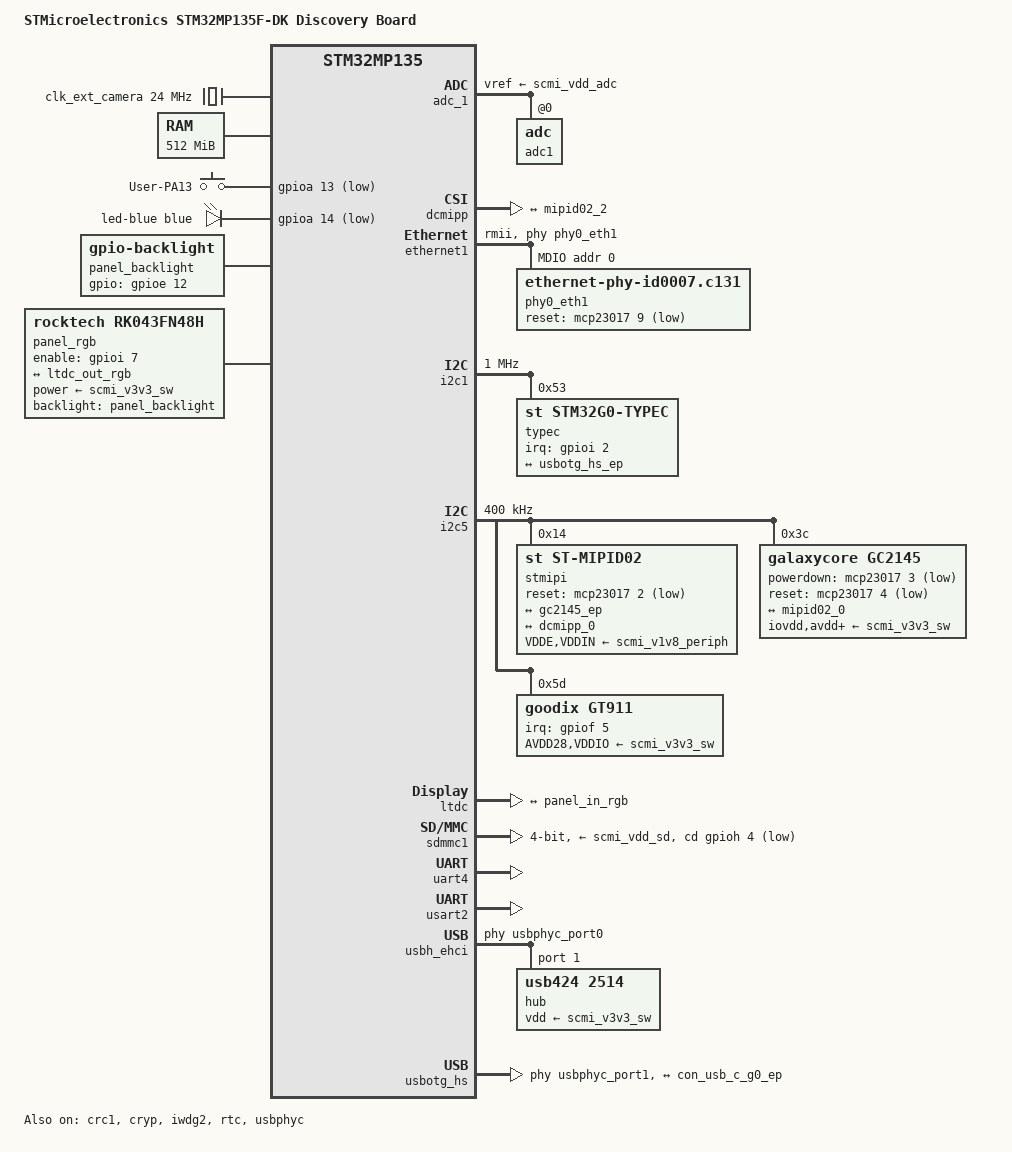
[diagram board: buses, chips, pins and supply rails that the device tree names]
// SPDX-License-Identifier: (GPL-2.0+ OR BSD-3-Clause)
/*
 * Copyright (C) STMicroelectronics 2021 - All Rights Reserved
 * Author: Alexandre Torgue <alexandre.torgue@foss.st.com> for STMicroelectronics.
 */

/dts-v1/;

#include <dt-bindings/gpio/gpio.h>
#include <dt-bindings/input/input.h>
#include <dt-bindings/leds/common.h>
#include <dt-bindings/regulator/st,stm32mp13-regulator.h>
#include "stm32mp135.dtsi"
#include "stm32mp13xf.dtsi"
#include "stm32mp13-pinctrl.dtsi"

/ {
	model = "STMicroelectronics STM32MP135F-DK Discovery Board";
	compatible = "st,stm32mp135f-dk", "st,stm32mp135";

	aliases {
		ethernet0 = &ethernet1;
		serial0 = &uart4;
		serial1 = &usart1;
		serial2 = &uart8;
		serial3 = &usart2;
	};

	chosen {
		stdout-path = "serial0:115200n8";
	};

	clocks {
		clk_ext_camera: clk-ext-camera {
			#clock-cells = <0>;
			compatible = "fixed-clock";
			clock-frequency = <24000000>;
		};

		clk_mco1: clk-mco1 {
			#clock-cells = <0>;
			compatible = "fixed-clock";
			clock-frequency = <24000000>;
		};
	};

	memory@c0000000 {
		device_type = "memory";
		reg = <0xc0000000 0x20000000>;
	};

	reserved-memory {
		#address-cells = <1>;
		#size-cells = <1>;
		ranges;

		optee@dd000000 {
			reg = <0xdd000000 0x3000000>;
			no-map;
		};
	};

	gpio-keys {
		compatible = "gpio-keys";

		button-user {
			label = "User-PA13";
			linux,code = <BTN_1>;
			gpios = <&gpioa 13 (GPIO_ACTIVE_LOW | GPIO_PULL_UP)>;
		};
	};

	leds {
		compatible = "gpio-leds";

		led-blue {
			function = LED_FUNCTION_HEARTBEAT;
			color = <LED_COLOR_ID_BLUE>;
			gpios = <&gpioa 14 GPIO_ACTIVE_LOW>;
			linux,default-trigger = "heartbeat";
			default-state = "off";
		};
	};

	panel_backlight: panel-backlight {
		compatible = "gpio-backlight";
		gpios = <&gpioe 12 GPIO_ACTIVE_HIGH>;
		default-on;
		status = "okay";
	};

	panel_rgb: panel-rgb {
		compatible = "rocktech,rk043fn48h";
		enable-gpios = <&gpioi 7 GPIO_ACTIVE_HIGH>;
		backlight = <&panel_backlight>;
		power-supply = <&scmi_v3v3_sw>;
		status = "okay";

		width-mm = <105>;
		height-mm = <67>;

		panel-timing {
			clock-frequency = <10000000>;
			hactive = <480>;
			hback-porch = <43>;
			hfront-porch = <10>;
			hsync-len = <1>;
			hsync-active = <0>;
			vactive = <272>;
			vback-porch = <26>;
			vfront-porch = <4>;
			vsync-len = <10>;
			vsync-active = <0>;
			de-active = <1>;
			pixelclk-active = <1>;
		};

		port {
			panel_in_rgb: endpoint {
				remote-endpoint = <&ltdc_out_rgb>;
			};
		};
	};
};

&adc_1 {
	pinctrl-names = "default";
	pinctrl-0 = <&adc1_usb_cc_pins_a>;
	vdda-supply = <&scmi_vdd_adc>;
	vref-supply = <&scmi_vdd_adc>;
	status = "okay";
	adc1: adc@0 {
		status = "okay";
		/*
		 * Type-C USB_PWR_CC1 & USB_PWR_CC2 on in6 & in12.
		 * Use at least 5 * RC time, e.g. 5 * (Rp + Rd) * C:
		 * 5 * (5.1 + 47kOhms) * 5pF => 1.3us.
		 * Use arbitrary margin here (e.g. 5us).
		 */
		channel@6 {
			reg = <6>;
			st,min-sample-time-ns = <5000>;
		};
		channel@12 {
			reg = <12>;
			st,min-sample-time-ns = <5000>;
		};
	};
};

&crc1 {
	status = "okay";
};

&cryp {
	status = "okay";
};

&dcmipp {
	pinctrl-names = "default", "sleep";
	pinctrl-0 = <&dcmipp_pins_a>;
	pinctrl-1 = <&dcmipp_sleep_pins_a>;
	status = "okay";

	port {
		dcmipp_0: endpoint {
			remote-endpoint = <&mipid02_2>;
			bus-width = <8>;
			hsync-active = <0>;
			vsync-active = <0>;
			pclk-sample = <0>;
		};
	};
};

&ethernet1 {
	status = "okay";
	pinctrl-0 = <&eth1_rmii_pins_a>;
	pinctrl-1 = <&eth1_rmii_sleep_pins_a>;
	pinctrl-names = "default", "sleep";
	phy-mode = "rmii";
	phy-handle = <&phy0_eth1>;

	mdio {
		#address-cells = <1>;
		#size-cells = <0>;
		compatible = "snps,dwmac-mdio";

		phy0_eth1: ethernet-phy@0 {
			compatible = "ethernet-phy-id0007.c131";
			reg = <0>;
			reset-gpios = <&mcp23017 9 GPIO_ACTIVE_LOW>;
			wakeup-source;
		};
	};
};

&i2c1 {
	pinctrl-names = "default", "sleep";
	pinctrl-0 = <&i2c1_pins_a>;
	pinctrl-1 = <&i2c1_sleep_pins_a>;
	i2c-scl-rising-time-ns = <96>;
	i2c-scl-falling-time-ns = <3>;
	clock-frequency = <1000000>;
	status = "okay";
	/* spare dmas for other usage */
	/delete-property/dmas;
	/delete-property/dma-names;

	mcp23017: pinctrl@21 {
		compatible = "microchip,mcp23017";
		reg = <0x21>;
		gpio-controller;
		#gpio-cells = <2>;
		interrupts = <12 IRQ_TYPE_LEVEL_LOW>;
		interrupt-parent = <&gpiog>;
		pinctrl-names = "default";
		pinctrl-0 = <&mcp23017_pins_a>;
		interrupt-controller;
		#interrupt-cells = <2>;
		microchip,irq-mirror;
	};

	typec@53 {
		compatible = "st,stm32g0-typec";
		reg = <0x53>;
		/* Alert pin on PI2 */
		interrupts = <2 IRQ_TYPE_EDGE_FALLING>;
		interrupt-parent = <&gpioi>;
		/* Internal pull-up on PI2 */
		pinctrl-names = "default";
		pinctrl-0 = <&stm32g0_intn_pins_a>;
		firmware-name = "stm32g0-ucsi.mp135f-dk.fw";
		connector {
			compatible = "usb-c-connector";
			label = "USB-C";

			port {
				con_usb_c_g0_ep: endpoint {
					remote-endpoint = <&usbotg_hs_ep>;
				};
			};
		};
	};
};

&i2c5 {
	pinctrl-names = "default", "sleep";
	pinctrl-0 = <&i2c5_pins_a>;
	pinctrl-1 = <&i2c5_sleep_pins_a>;
	i2c-scl-rising-time-ns = <170>;
	i2c-scl-falling-time-ns = <5>;
	clock-frequency = <400000>;
	status = "okay";
	/* spare dmas for other usage */
	/delete-property/dmas;
	/delete-property/dma-names;

	stmipi: csi2rx@14 {
		compatible = "st,st-mipid02";
		reg = <0x14>;
		clocks = <&clk_mco1>;
		clock-names = "xclk";
		VDDE-supply = <&scmi_v1v8_periph>;
		VDDIN-supply = <&scmi_v1v8_periph>;
		reset-gpios = <&mcp23017 2 (GPIO_ACTIVE_LOW | GPIO_PUSH_PULL)>;
		status = "okay";

		ports {
			#address-cells = <1>;
			#size-cells = <0>;
			port@0 {
				reg = <0>;

				mipid02_0: endpoint {
					data-lanes = <1 2>;
					lane-polarities = <0 0 0>;
					remote-endpoint = <&gc2145_ep>;
				};
			};
			port@2 {
				reg = <2>;

				mipid02_2: endpoint {
					bus-width = <8>;
					hsync-active = <0>;
					vsync-active = <0>;
					pclk-sample = <0>;
					remote-endpoint = <&dcmipp_0>;
				};
			};
		};
	};

	gc2145: camera@3c {
		compatible = "galaxycore,gc2145";
		reg = <0x3c>;
		clocks = <&clk_ext_camera>;
		iovdd-supply = <&scmi_v3v3_sw>;
		avdd-supply = <&scmi_v3v3_sw>;
		dvdd-supply = <&scmi_v3v3_sw>;
		powerdown-gpios = <&mcp23017 3 (GPIO_ACTIVE_LOW | GPIO_PUSH_PULL)>;
		reset-gpios = <&mcp23017 4 (GPIO_ACTIVE_LOW | GPIO_PUSH_PULL)>;
		status = "okay";

		port {
			gc2145_ep: endpoint {
				remote-endpoint = <&mipid02_0>;
				data-lanes = <1 2>;
				link-frequencies = /bits/ 64 <120000000 192000000 240000000>;
			};
		};
	};

	goodix: goodix-ts@5d {
		compatible = "goodix,gt911";
		reg = <0x5d>;
		pinctrl-names = "default";
		pinctrl-0 = <&goodix_pins_a>;
		interrupt-parent = <&gpiof>;
		interrupts = <5 IRQ_TYPE_EDGE_FALLING>;
		AVDD28-supply = <&scmi_v3v3_sw>;
		VDDIO-supply = <&scmi_v3v3_sw>;
		touchscreen-size-x = <480>;
		touchscreen-size-y = <272>;
		status = "okay" ;
	};
};

&iwdg2 {
	timeout-sec = <32>;
	status = "okay";
};

&ltdc {
	pinctrl-names = "default", "sleep";
	pinctrl-0 = <&ltdc_pins_a>;
	pinctrl-1 = <&ltdc_sleep_pins_a>;
	status = "okay";

	port {
		ltdc_out_rgb: endpoint {
			remote-endpoint = <&panel_in_rgb>;
		};
	};
};

&rtc {
	status = "okay";
};

&scmi_regu {
	scmi_vdd_adc: regulator@10 {
		reg = <VOLTD_SCMI_STPMIC1_LDO1>;
		regulator-name = "vdd_adc";
	};
	scmi_vdd_usb: regulator@13 {
		reg = <VOLTD_SCMI_STPMIC1_LDO4>;
		regulator-name = "vdd_usb";
	};
	scmi_vdd_sd: regulator@14 {
		reg = <VOLTD_SCMI_STPMIC1_LDO5>;
		regulator-name = "vdd_sd";
	};
	scmi_v1v8_periph: regulator@15 {
		reg = <VOLTD_SCMI_STPMIC1_LDO6>;
		regulator-name = "v1v8_periph";
	};
	scmi_v3v3_sw: regulator@19 {
		reg = <VOLTD_SCMI_STPMIC1_PWR_SW2>;
		regulator-name = "v3v3_sw";
	};
};

&sdmmc1 {
	pinctrl-names = "default", "opendrain", "sleep";
	pinctrl-0 = <&sdmmc1_b4_pins_a &sdmmc1_clk_pins_a>;
	pinctrl-1 = <&sdmmc1_b4_od_pins_a &sdmmc1_clk_pins_a>;
	pinctrl-2 = <&sdmmc1_b4_sleep_pins_a>;
	cd-gpios = <&gpioh 4 (GPIO_ACTIVE_LOW | GPIO_PULL_UP)>;
	disable-wp;
	st,neg-edge;
	bus-width = <4>;
	vmmc-supply = <&scmi_vdd_sd>;
	status = "okay";
};

&spi5 {
	pinctrl-names = "default", "sleep";
	pinctrl-0 = <&spi5_pins_a>;
	pinctrl-1 = <&spi5_sleep_pins_a>;
	status = "disabled";
};

&timers3 {
	/delete-property/dmas;
	/delete-property/dma-names;
	status = "disabled";
	pwm {
		/* PWM output on pin 7 of the expansion connector (CN8.7) using TIM3_CH4 func */
		pinctrl-0 = <&pwm3_pins_a>;
		pinctrl-1 = <&pwm3_sleep_pins_a>;
		pinctrl-names = "default", "sleep";
		status = "okay";
	};
	timer@2 {
		status = "okay";
	};
};

&timers4 {
	/delete-property/dmas;
	/delete-property/dma-names;
	status = "disabled";
	pwm {
		/* PWM output on pin 31 of the expansion connector (CN8.31) using TIM4_CH2 func */
		pinctrl-0 = <&pwm4_pins_a>;
		pinctrl-1 = <&pwm4_sleep_pins_a>;
		pinctrl-names = "default", "sleep";
		status = "okay";
	};
	timer@3 {
		status = "okay";
	};
};

&timers8 {
	/delete-property/dmas;
	/delete-property/dma-names;
	status = "disabled";
	pwm {
		/* PWM output on pin 32 of the expansion connector (CN8.32) using TIM8_CH3 func */
		pinctrl-0 = <&pwm8_pins_a>;
		pinctrl-1 = <&pwm8_sleep_pins_a>;
		pinctrl-names = "default", "sleep";
		status = "okay";
	};
	timer@7 {
		status = "okay";
	};
};

&timers14 {
	status = "disabled";
	pwm {
		/* PWM output on pin 33 of the expansion connector (CN8.33) using TIM14_CH1 func */
		pinctrl-0 = <&pwm14_pins_a>;
		pinctrl-1 = <&pwm14_sleep_pins_a>;
		pinctrl-names = "default", "sleep";
		status = "okay";
	};
	timer@13 {
		status = "okay";
	};
};

&uart4 {
	pinctrl-names = "default", "sleep", "idle";
	pinctrl-0 = <&uart4_pins_a>;
	pinctrl-1 = <&uart4_sleep_pins_a>;
	pinctrl-2 = <&uart4_idle_pins_a>;
	/delete-property/dmas;
	/delete-property/dma-names;
	status = "okay";
};

&uart8 {
	pinctrl-names = "default", "sleep", "idle";
	pinctrl-0 = <&uart8_pins_a>;
	pinctrl-1 = <&uart8_sleep_pins_a>;
	pinctrl-2 = <&uart8_idle_pins_a>;
	/delete-property/dmas;
	/delete-property/dma-names;
	status = "disabled";
};

&usart1 {
	pinctrl-names = "default", "sleep", "idle";
	pinctrl-0 = <&usart1_pins_a>;
	pinctrl-1 = <&usart1_sleep_pins_a>;
	pinctrl-2 = <&usart1_idle_pins_a>;
	uart-has-rtscts;
	status = "disabled";
};

/* Bluetooth */
&usart2 {
	pinctrl-names = "default", "sleep", "idle";
	pinctrl-0 = <&usart2_pins_a>;
	pinctrl-1 = <&usart2_sleep_pins_a>;
	pinctrl-2 = <&usart2_idle_pins_a>;
	uart-has-rtscts;
	status = "okay";
};

&usbh_ehci {
	phys = <&usbphyc_port0>;
	status = "okay";
	#address-cells = <1>;
	#size-cells = <0>;
	/* onboard HUB */
	hub@1 {
		compatible = "usb424,2514";
		reg = <1>;
		vdd-supply = <&scmi_v3v3_sw>;
	};
};

&usbotg_hs {
	phys = <&usbphyc_port1 0>;
	phy-names = "usb2-phy";
	usb-role-switch;
	status = "okay";
	port {
		usbotg_hs_ep: endpoint {
			remote-endpoint = <&con_usb_c_g0_ep>;
		};
	};
};

&usbphyc {
	status = "okay";
};

&usbphyc_port0 {
	phy-supply = <&scmi_vdd_usb>;
	st,current-boost-microamp = <1000>;
	st,decrease-hs-slew-rate;
	st,tune-hs-dc-level = <2>;
	st,enable-hs-rftime-reduction;
	st,trim-hs-current = <11>;
	st,trim-hs-impedance = <2>;
	st,tune-squelch-level = <1>;
	st,enable-hs-rx-gain-eq;
	st,no-hs-ftime-ctrl;
	st,no-lsfs-sc;
};

&usbphyc_port1 {
	phy-supply = <&scmi_vdd_usb>;
	st,current-boost-microamp = <1000>;
	st,decrease-hs-slew-rate;
	st,tune-hs-dc-level = <2>;
	st,enable-hs-rftime-reduction;
	st,trim-hs-current = <11>;
	st,trim-hs-impedance = <2>;
	st,tune-squelch-level = <1>;
	st,enable-hs-rx-gain-eq;
	st,no-hs-ftime-ctrl;
	st,no-lsfs-sc;
};
